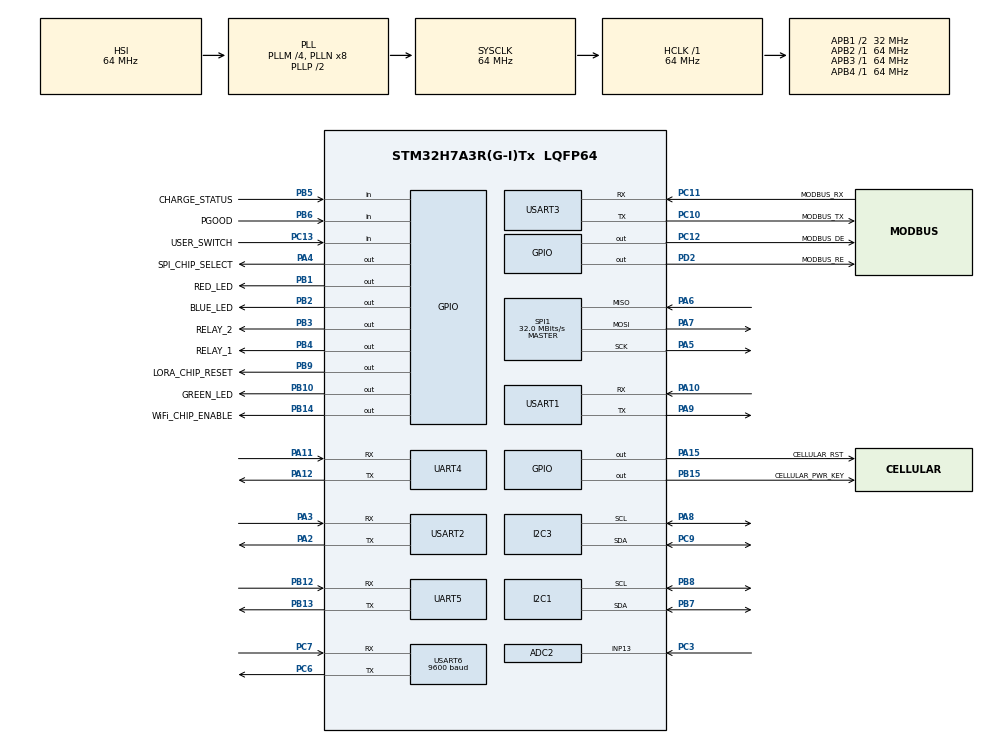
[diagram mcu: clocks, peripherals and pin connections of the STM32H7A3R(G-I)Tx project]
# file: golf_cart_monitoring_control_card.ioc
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ADC2.Channel-2\#ChannelRegularConversion=ADC_CHANNEL_13
ADC2.NbrOfConversionFlag=1
ADC2.OffsetNumber-2\#ChannelRegularConversion=ADC_OFFSET_NONE
ADC2.OffsetSignedSaturation-2\#ChannelRegularConversion=DISABLE
ADC2.Rank-2\#ChannelRegularConversion=1
ADC2.Resolution=ADC_RESOLUTION_12B
ADC2.SamplingTime-2\#ChannelRegularConversion=ADC_SAMPLETIME_810CYCLES_5
CORTEX_M7.default_mode_Activation=1
FREERTOS.BinarySemaphores01=myBinarySem01,Dynamic,NULL,Available
FREERTOS.Mutexes01=myMutex01,Dynamic,NULL,Available
FREERTOS.Tasks01=rtc_task,0,1024,start_rtc_task,Default,NULL,Dynamic,NULL,NULL;wifi_processing,0,1024,wifi_processing_task,Default,NULL,Dynamic,NULL,NULL;wifi_thread,0,1024,wifi_thread_task,Default,NULL,Dynamic,NULL,NULL;cellular_proces,0,1024,cellular_processing_task,Default,NULL,Dynamic,NULL,NULL;cellular_thread,0,1024,cellular_thread_task,Default,NULL,Dynamic,NULL,NULL;downlink_thread,0,1024,downlink_thread_task,Default,NULL,Dynamic,NULL,NULL;appilcation_thr,0,1024,appilcation_thread_task,Default,NULL,Dynamic,NULL,NULL;lorawan_thread,0,1024,lorawan_thread_task,Default,NULL,Dynamic,NULL,NULL;lorawan_process,0,1024,lorawan_processing_task,Default,NULL,Dynamic,NULL,NULL
FREERTOS.configTOTAL_HEAP_SIZE=262144
I2C1.Timing=0x00707CBB
I2C3.Timing=0x00707CBB
IWDG1.Prescaler=IWDG_PRESCALER_256
Mcu.Family=STM32H7
Mcu.Name=STM32H7A3R(G-I)Tx
Mcu.Package=LQFP64
NVIC.I2C1_ER_IRQn=true\:5\:0\:false\:false\:true\:true\:true\:true\:true
NVIC.I2C1_EV_IRQn=true\:5\:0\:false\:false\:true\:true\:true\:true\:true
NVIC.I2C3_ER_IRQn=true\:5\:0\:false\:false\:true\:true\:true\:true\:true
NVIC.I2C3_EV_IRQn=true\:5\:0\:false\:false\:true\:true\:true\:true\:true
NVIC.PriorityGroup=NVIC_PRIORITYGROUP_4
NVIC.SPI1_IRQn=true\:5\:0\:false\:false\:true\:true\:true\:true\:true
NVIC.TIM4_IRQn=true\:15\:0\:false\:false\:true\:false\:false\:true\:true
NVIC.TimeBase=TIM4_IRQn
NVIC.TimeBaseIP=TIM4
NVIC.UART4_IRQn=true\:5\:0\:false\:false\:true\:true\:true\:true\:true
NVIC.UART5_IRQn=true\:5\:0\:false\:false\:true\:true\:true\:true\:true
NVIC.USART1_IRQn=true\:5\:0\:false\:false\:true\:true\:true\:true\:true
NVIC.USART2_IRQn=true\:5\:0\:false\:false\:true\:true\:true\:true\:true
NVIC.USART3_IRQn=true\:5\:0\:false\:false\:true\:true\:true\:true\:true
NVIC.USART6_IRQn=true\:5\:0\:false\:false\:true\:true\:true\:true\:true
PA10.Mode=Asynchronous
PA10.Signal=USART1_RX
PA11.Mode=Asynchronous
PA11.Signal=UART4_RX
PA12.Mode=Asynchronous
PA12.Signal=UART4_TX
PA15.GPIO_Label=CELLULAR_RST
PA15.Signal=GPIO_Output
PA2.Mode=Asynchronous
PA2.Signal=USART2_TX
PA3.Mode=Asynchronous
PA3.Signal=USART2_RX
PA4.GPIO_Label=SPI_CHIP_SELECT
PA4.Signal=GPIO_Output
PA5.Mode=Full_Duplex_Master
PA5.Signal=SPI1_SCK
PA6.Mode=Full_Duplex_Master
PA6.Signal=SPI1_MISO
PA7.Mode=Full_Duplex_Master
PA7.Signal=SPI1_MOSI
PA8.Mode=I2C
PA8.Signal=I2C3_SCL
PA9.Mode=Asynchronous
PA9.Signal=USART1_TX
PB1.GPIO_Label=RED_LED
PB1.Signal=GPIO_Output
PB10.GPIO_Label=GREEN_LED
PB10.Signal=GPIO_Output
PB12.Mode=Asynchronous
PB12.Signal=UART5_RX
PB13.Mode=Asynchronous
PB13.Signal=UART5_TX
PB14.GPIO_Label=WiFi_CHIP_ENABLE
PB14.Signal=GPIO_Output
PB15.GPIO_Label=CELLULAR_PWR_KEY
PB15.Signal=GPIO_Output
PB2.GPIO_Label=BLUE_LED
PB2.Signal=GPIO_Output
PB3.GPIO_Label=RELAY_2
PB3.Signal=GPIO_Output
PB4.GPIO_Label=RELAY_1
PB4.Signal=GPIO_Output
PB5.GPIO_Label=CHARGE_STATUS
PB5.Signal=GPIO_Input
PB6.GPIO_Label=PGOOD
PB6.Signal=GPIO_Input
PB7.Mode=I2C
PB7.Signal=I2C1_SDA
PB8.Mode=I2C
PB8.Signal=I2C1_SCL
PB9.GPIO_Label=LORA_CHIP_RESET
PB9.Signal=GPIO_Output
PC10.GPIO_Label=MODBUS_TX
PC10.Mode=Asynchronous
PC10.Signal=USART3_TX
PC11.GPIO_Label=MODBUS_RX
PC11.Mode=Asynchronous
PC11.Signal=USART3_RX
PC12.GPIO_Label=MODBUS_DE
PC12.Signal=GPIO_Output
PC13.GPIO_Label=USER_SWITCH
PC13.Signal=GPIO_Input
PC14-OSC32_IN.Mode=LSE-External-Oscillator
PC14-OSC32_IN.Signal=RCC_OSC32_IN
PC15-OSC32_OUT.Mode=LSE-External-Oscillator
PC15-OSC32_OUT.Signal=RCC_OSC32_OUT
PC3.Signal=ADCx_INP13
PC6.Mode=Asynchronous
PC6.Signal=USART6_TX
PC7.Mode=Asynchronous
PC7.Signal=USART6_RX
PC9.Mode=I2C
PC9.Signal=I2C3_SDA
PD2.GPIO_Label=MODBUS_RE
PD2.Signal=GPIO_Output
ProjectManager.HeapSize=0x200
ProjectManager.StackSize=0x400
ProjectManager.TargetToolchain=STM32CubeIDE
RCC.ADCFreq_Value=16000000
RCC.APB1Freq_Value=32000000
RCC.APB2Freq_Value=64000000
RCC.APB3Freq_Value=64000000
RCC.APB4Freq_Value=64000000
RCC.CDPPRE1=RCC_APB1_DIV2
RCC.CortexFreq_Value=64000000
RCC.DIVM1=4
RCC.DIVM2=4
RCC.DIVN1=8
RCC.DIVN2=8
RCC.DIVP2=8
RCC.HCLKFreq_Value=64000000
RCC.PLL2FRACN=0
RCC.PLL3FRACN=0
RCC.PLLFRACN=0
RCC.RTCClockSelection=RCC_RTCCLKSOURCE_LSE
RCC.SYSCLKFreq_VALUE=64000000
RCC.SYSCLKSource=RCC_SYSCLKSOURCE_PLLCLK
RCC.USBFreq_Value=64000000
SH.ADCx_INP13.0=ADC2_INP13,IN13-Single-Ended
SPI1.CalculateBaudRate=32.0 MBits/s
SPI1.DataSize=SPI_DATASIZE_8BIT
SPI1.Direction=SPI_DIRECTION_2LINES
SPI1.Mode=SPI_MODE_MASTER
SPI1.VirtualType=VM_MASTER
TIM17.Prescaler=72-1
USART1.VirtualMode-Asynchronous=VM_ASYNC
USART2.VirtualMode-Asynchronous=VM_ASYNC
USART3.VirtualMode-Asynchronous=VM_ASYNC
USART6.BaudRate=9600
USART6.VirtualMode=VM_ASYNC
VP_FREERTOS_VS_CMSIS_V1.Mode=CMSIS_V1
VP_IWDG1_VS_IWDG.Mode=IWDG_Activate
VP_MEMORYMAP_VS_MEMORYMAP.Mode=CurAppReg
VP_RTC_VS_RTC_Activate.Mode=RTC_Enabled
VP_SYS_VS_tim4.Mode=TIM4
VP_TIM17_VS_ClockSourceINT.Mode=Enable_Timer
board=custom

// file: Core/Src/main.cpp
/* USER CODE BEGIN Header */
/**
  ******************************************************************************
  * @file           : main.c
  * @brief          : Main program body
  ******************************************************************************
  * @attention
  *
  * Copyright (c) 2025 STMicroelectronics.
  * All rights reserved.
  *
  * This software is licensed under terms that can be found in the LICENSE file
  * in the root directory of this software component.
  * If no LICENSE file comes with this software, it is provided AS-IS.
  *
  ******************************************************************************
  */
/* USER CODE END Header */
#include "main.h"
#include "cmsis_os.h"

/* USER CODE BEGIN Includes */

#include "usart_class.h"
#include "gpio.h"
#include "realtimeclock.h"
#include "norflash.h"
#include "external_eeprom.h"
#include "device_info.h"
#include "wifi.h"
#include "semaphore_t.h"
#include "uplink_management.h"
#include "norflash.h"
#include "peripherals_t.h"
#include "cellular.h"
#include "adc.h"
#include "radar_sensor.h"
#include "lorawan_stm32wl.h"
#include "sht40.h"

/* USER CODE END Includes */

ADC_HandleTypeDef hadc2;

I2C_HandleTypeDef hi2c1;
I2C_HandleTypeDef hi2c3;

IWDG_HandleTypeDef hiwdg1;

RTC_HandleTypeDef hrtc;

SPI_HandleTypeDef hspi1;

UART_HandleTypeDef huart4;
UART_HandleTypeDef huart5;
UART_HandleTypeDef huart1;
UART_HandleTypeDef huart2;
UART_HandleTypeDef huart3;
UART_HandleTypeDef huart6;

TIM_HandleTypeDef htim17;

osThreadId rtc_taskHandle;
osThreadId wifi_processingHandle;
osThreadId wifi_threadHandle;
osThreadId cellular_procesHandle;
osThreadId cellular_threadHandle;
osThreadId downlink_threadHandle;
osThreadId appilcation_thrHandle;
osThreadId lorawan_threadHandle;
osThreadId lorawan_processHandle;
osMutexId myMutex01Handle;
osSemaphoreId myBinarySem01Handle;
/* USER CODE BEGIN PV */

uint8_t debug_byte = 0;
reset_cause_t device_reset_reason;

/* USER CODE END PV */

void SystemClock_Config(void);
static void MPU_Config(void);
static void MX_GPIO_Init(void);
static void MX_I2C1_Init(void);
static void MX_I2C3_Init(void);
static void MX_SPI1_Init(void);
static void MX_UART4_Init(void);
static void MX_UART5_Init(void);
static void MX_USART1_UART_Init(void);
static void MX_USART2_UART_Init(void);
static void MX_USART3_UART_Init(void);
static void MX_USART6_UART_Init(void);
static void MX_RTC_Init(void);
void MX_TIM17_Init(void);
static void MX_ADC2_Init(void);
static void MX_IWDG1_Init(void);
void start_rtc_task(void const * argument);
void wifi_processing_task(void const * argument);
void wifi_thread_task(void const * argument);
void cellular_processing_task(void const * argument);
void cellular_thread_task(void const * argument);
void downlink_thread_task(void const * argument);
void appilcation_thread_task(void const * argument);
void lorawan_thread_task(void const * argument);
void lorawan_processing_task(void const * argument);
void read_and_print_sht40(void);

/* USER CODE BEGIN 0 */

uint32_t application_thread_loop_start_time = 0;
uint32_t application_thread_loop_end_time = 0;
uint32_t time_to_sleep_in_sec = 0;

uint8_t power_up = 0;

int16_t temperature = 45;
uint8_t humidity= 66;

extern I2C_HandleTypeDef hi2c1;
extern usart debug;

i2c i2c1_bus(&hi2c1);

SHT40 sht40(&i2c1_bus, 0x44 << 1);   // 8-bit address

//void read_and_print_sht40(void)
//   {
//       int16_t temp_x10 = 0;
//       uint8_t hum = 0;
//
//       SHT40::Status status = sht40.read(temp_x10, hum);
//
//       if (status == SHT40::Status::OK)
//       {
//           debug.printf(
//               "SHT40 | Temp: %d.%d C | Humidity: %d %%\r\n",
//               temp_x10 / 10,
//               abs(temp_x10 % 10),
//               hum
//           );
//       }
//       else if (status == SHT40::Status::CRC_ERROR)
//       {
//           debug.printf("SHT40 ERROR: CRC failure\r\n");
//       }
//       else
//       {
//           debug.printf("SHT40 ERROR: I2C failure\r\n");
//       }
//   }

/* USER CODE END 0 */

int main(void)
{

  /* MPU Configuration--------------------------------------------------------*/
  MPU_Config();

  /* MCU Configuration--------------------------------------------------------*/

  /* Reset of all peripherals, Initializes the Flash interface and the Systick. */
  HAL_Init();

  /* Configure the system clock */
  SystemClock_Config();

  /* Initialize all configured peripherals */
  MX_GPIO_Init();
  MX_I2C1_Init();
  MX_I2C3_Init();
  MX_SPI1_Init();
  MX_UART4_Init();
  MX_UART5_Init();
  MX_USART1_UART_Init();
  MX_USART2_UART_Init();
  MX_USART3_UART_Init();
  MX_USART6_UART_Init();
  MX_RTC_Init();
  MX_TIM17_Init();
  MX_ADC2_Init();
  MX_IWDG1_Init();
  /* USER CODE BEGIN 2 */

  //debug.printf("\r\nSHT40 Sensor Test Started\r\n");

  /* USER CODE END 2 */

  /* Create the mutex(es) */
  /* definition and creation of myMutex01 */
  osMutexDef(myMutex01);
  myMutex01Handle = osMutexCreate(osMutex(myMutex01));

  /* Create the semaphores(s) */
  /* definition and creation of myBinarySem01 */
  osSemaphoreDef(myBinarySem01);
  myBinarySem01Handle = osSemaphoreCreate(osSemaphore(myBinarySem01), 1);

  /* Create the thread(s) */
  /* definition and creation of rtc_task */
  osThreadDef(rtc_task, start_rtc_task, osPriorityNormal, 0, 1024);
  rtc_taskHandle = osThreadCreate(osThread(rtc_task), NULL);

  /* definition and creation of wifi_processing */
  osThreadDef(wifi_processing, wifi_processing_task, osPriorityNormal, 0, 1024);
  wifi_processingHandle = osThreadCreate(osThread(wifi_processing), NULL);

  /* definition and creation of wifi_thread */
  osThreadDef(wifi_thread, wifi_thread_task, osPriorityNormal, 0, 1024);
  wifi_threadHandle = osThreadCreate(osThread(wifi_thread), NULL);

  /* definition and creation of cellular_proces */
  osThreadDef(cellular_proces, cellular_processing_task, osPriorityNormal, 0, 1024);
  cellular_procesHandle = osThreadCreate(osThread(cellular_proces), NULL);

  /* definition and creation of cellular_thread */
  osThreadDef(cellular_thread, cellular_thread_task, osPriorityNormal, 0, 1024);
  cellular_threadHandle = osThreadCreate(osThread(cellular_thread), NULL);
//
  /* definition and creation of downlink_thread */
  osThreadDef(downlink_thread, downlink_thread_task, osPriorityNormal, 0, 1024);
  downlink_threadHandle = osThreadCreate(osThread(downlink_thread), NULL);
//
//  /* definition and creation of appilcation_thr */
  osThreadDef(appilcation_thr, appilcation_thread_task, osPriorityNormal, 0, 1024);
  appilcation_thrHandle = osThreadCreate(osThread(appilcation_thr), NULL);
//
  /* definition and creation of lorawan_thread */
  osThreadDef(lorawan_thread, lorawan_thread_task, osPriorityNormal, 0, 1024);
  lorawan_threadHandle = osThreadCreate(osThread(lorawan_thread), NULL);

  /* definition and creation of lorawan_process */
  osThreadDef(lorawan_process, lorawan_processing_task, osPriorityNormal, 0, 1024);
  lorawan_processHandle = osThreadCreate(osThread(lorawan_process), NULL);

  /* Start scheduler */
  osKernelStart();

  /* We should never get here as control is now taken by the scheduler */

  /* Infinite loop */
  while (1)
  {

  }
}

void SystemClock_Config(void)
{
  RCC_OscInitTypeDef RCC_OscInitStruct = {0};
  RCC_ClkInitTypeDef RCC_ClkInitStruct = {0};

  /*AXI clock gating */
  RCC->CKGAENR = 0xFFFFFFFF;

  /** Supply configuration update enable
  */
  HAL_PWREx_ConfigSupply(PWR_LDO_SUPPLY);

  /** Configure the main internal regulator output voltage
  */
  __HAL_PWR_VOLTAGESCALING_CONFIG(PWR_REGULATOR_VOLTAGE_SCALE3);

  while(!__HAL_PWR_GET_FLAG(PWR_FLAG_VOSRDY)) {}

  /** Configure LSE Drive Capability
  */
  HAL_PWR_EnableBkUpAccess();
  __HAL_RCC_LSEDRIVE_CONFIG(RCC_LSEDRIVE_LOW);

  /** Initializes the RCC Oscillators according to the specified parameters
  * in the RCC_OscInitTypeDef structure.
  */
  RCC_OscInitStruct.OscillatorType = RCC_OSCILLATORTYPE_HSI|RCC_OSCILLATORTYPE_LSE;
  RCC_OscInitStruct.LSEState = RCC_LSE_ON;
  RCC_OscInitStruct.HSIState = RCC_HSI_DIV1;
  RCC_OscInitStruct.HSICalibrationValue = 64;
  RCC_OscInitStruct.PLL.PLLState = RCC_PLL_ON;
  RCC_OscInitStruct.PLL.PLLSource = RCC_PLLSOURCE_HSI;
  RCC_OscInitStruct.PLL.PLLM = 4;
  RCC_OscInitStruct.PLL.PLLN = 8;
  RCC_OscInitStruct.PLL.PLLP = 2;
  RCC_OscInitStruct.PLL.PLLQ = 2;
  RCC_OscInitStruct.PLL.PLLR = 2;
  RCC_OscInitStruct.PLL.PLLRGE = RCC_PLL1VCIRANGE_3;
  RCC_OscInitStruct.PLL.PLLVCOSEL = RCC_PLL1VCOWIDE;
  RCC_OscInitStruct.PLL.PLLFRACN = 0;
  if (HAL_RCC_OscConfig(&RCC_OscInitStruct) != HAL_OK)
  {
    Error_Handler();
  }

  /** Initializes the CPU, AHB and APB buses clocks
  */
  RCC_ClkInitStruct.ClockType = RCC_CLOCKTYPE_HCLK|RCC_CLOCKTYPE_SYSCLK
                              |RCC_CLOCKTYPE_PCLK1|RCC_CLOCKTYPE_PCLK2
                              |RCC_CLOCKTYPE_D3PCLK1|RCC_CLOCKTYPE_D1PCLK1;
  RCC_ClkInitStruct.SYSCLKSource = RCC_SYSCLKSOURCE_PLLCLK;
  RCC_ClkInitStruct.SYSCLKDivider = RCC_SYSCLK_DIV1;
  RCC_ClkInitStruct.AHBCLKDivider = RCC_HCLK_DIV1;
  RCC_ClkInitStruct.APB3CLKDivider = RCC_APB3_DIV1;
  RCC_ClkInitStruct.APB1CLKDivider = RCC_APB1_DIV2;
  RCC_ClkInitStruct.APB2CLKDivider = RCC_APB2_DIV1;
  RCC_ClkInitStruct.APB4CLKDivider = RCC_APB4_DIV1;

  if (HAL_RCC_ClockConfig(&RCC_ClkInitStruct, FLASH_LATENCY_2) != HAL_OK)
  {
    Error_Handler();
  }
}

static void MX_ADC2_Init(void)
{

  ADC_ChannelConfTypeDef sConfig = {0};

  /** Common config
  */
  hadc2.Instance = ADC2;
  hadc2.Init.ClockPrescaler = ADC_CLOCK_ASYNC_DIV1;
  hadc2.Init.Resolution = ADC_RESOLUTION_12B;
  hadc2.Init.ScanConvMode = ADC_SCAN_DISABLE;
  hadc2.Init.EOCSelection = ADC_EOC_SINGLE_CONV;
  hadc2.Init.LowPowerAutoWait = DISABLE;
  hadc2.Init.ContinuousConvMode = DISABLE;
  hadc2.Init.NbrOfConversion = 1;
  hadc2.Init.DiscontinuousConvMode = DISABLE;
  hadc2.Init.ExternalTrigConv = ADC_SOFTWARE_START;
  hadc2.Init.ExternalTrigConvEdge = ADC_EXTERNALTRIGCONVEDGE_NONE;
  hadc2.Init.ConversionDataManagement = ADC_CONVERSIONDATA_DR;
  hadc2.Init.Overrun = ADC_OVR_DATA_PRESERVED;
  hadc2.Init.LeftBitShift = ADC_LEFTBITSHIFT_NONE;
  hadc2.Init.OversamplingMode = DISABLE;
  if (HAL_ADC_Init(&hadc2) != HAL_OK)
  {
    Error_Handler();
  }

  /** Configure Regular Channel
  */
  sConfig.Channel = ADC_CHANNEL_13;
  sConfig.Rank = ADC_REGULAR_RANK_1;
  sConfig.SamplingTime = ADC_SAMPLETIME_810CYCLES_5;
  sConfig.SingleDiff = ADC_SINGLE_ENDED;
  sConfig.OffsetNumber = ADC_OFFSET_NONE;
  sConfig.Offset = 0;
  sConfig.OffsetSignedSaturation = DISABLE;
  if (HAL_ADC_ConfigChannel(&hadc2, &sConfig) != HAL_OK)
  {
    Error_Handler();
  }

}

static void MX_I2C1_Init(void)
{

  hi2c1.Instance = I2C1;
  hi2c1.Init.Timing = 0x00707CBB;
  hi2c1.Init.OwnAddress1 = 0;
  hi2c1.Init.AddressingMode = I2C_ADDRESSINGMODE_7BIT;
  hi2c1.Init.DualAddressMode = I2C_DUALADDRESS_DISABLE;
  hi2c1.Init.OwnAddress2 = 0;
  hi2c1.Init.OwnAddress2Masks = I2C_OA2_NOMASK;
  hi2c1.Init.GeneralCallMode = I2C_GENERALCALL_DISABLE;
  hi2c1.Init.NoStretchMode = I2C_NOSTRETCH_DISABLE;
  if (HAL_I2C_Init(&hi2c1) != HAL_OK)
  {
    Error_Handler();
  }

  /** Configure Analogue filter
  */
  if (HAL_I2CEx_ConfigAnalogFilter(&hi2c1, I2C_ANALOGFILTER_ENABLE) != HAL_OK)
  {
    Error_Handler();
  }

  /** Configure Digital filter
  */
  if (HAL_I2CEx_ConfigDigitalFilter(&hi2c1, 0) != HAL_OK)
  {
    Error_Handler();
  }

}

static void MX_I2C3_Init(void)
{

  hi2c3.Instance = I2C3;
  hi2c3.Init.Timing = 0x00707CBB;
  hi2c3.Init.OwnAddress1 = 0;
  hi2c3.Init.AddressingMode = I2C_ADDRESSINGMODE_7BIT;
  hi2c3.Init.DualAddressMode = I2C_DUALADDRESS_DISABLE;
  hi2c3.Init.OwnAddress2 = 0;
  hi2c3.Init.OwnAddress2Masks = I2C_OA2_NOMASK;
  hi2c3.Init.GeneralCallMode = I2C_GENERALCALL_DISABLE;
  hi2c3.Init.NoStretchMode = I2C_NOSTRETCH_DISABLE;
  if (HAL_I2C_Init(&hi2c3) != HAL_OK)
  {
    Error_Handler();
  }

  /** Configure Analogue filter
  */
  if (HAL_I2CEx_ConfigAnalogFilter(&hi2c3, I2C_ANALOGFILTER_ENABLE) != HAL_OK)
  {
    Error_Handler();
  }

  /** Configure Digital filter
  */
  if (HAL_I2CEx_ConfigDigitalFilter(&hi2c3, 0) != HAL_OK)
  {
    Error_Handler();
  }

}

static void MX_IWDG1_Init(void)
{

  hiwdg1.Instance = IWDG1;
  hiwdg1.Init.Prescaler = IWDG_PRESCALER_256;
  hiwdg1.Init.Window = 4095;
  hiwdg1.Init.Reload = 4095;
  if (HAL_IWDG_Init(&hiwdg1) != HAL_OK)
  {
    Error_Handler();
  }

}

static void MX_RTC_Init(void)
{

  /** Initialize RTC Only
  */
  hrtc.Instance = RTC;
  hrtc.Init.HourFormat = RTC_HOURFORMAT_24;
  hrtc.Init.AsynchPrediv = 127;
  hrtc.Init.SynchPrediv = 255;
  hrtc.Init.OutPut = RTC_OUTPUT_DISABLE;
  hrtc.Init.OutPutPolarity = RTC_OUTPUT_POLARITY_HIGH;
  hrtc.Init.OutPutType = RTC_OUTPUT_TYPE_OPENDRAIN;
  hrtc.Init.OutPutRemap = RTC_OUTPUT_REMAP_NONE;
  if (HAL_RTC_Init(&hrtc) != HAL_OK)
  {
    Error_Handler();
  }

}

static void MX_SPI1_Init(void)
{

  /* SPI1 parameter configuration*/
  hspi1.Instance = SPI1;
  hspi1.Init.Mode = SPI_MODE_MASTER;
  hspi1.Init.Direction = SPI_DIRECTION_2LINES;
  hspi1.Init.DataSize = SPI_DATASIZE_8BIT;
  hspi1.Init.CLKPolarity = SPI_POLARITY_LOW;
  hspi1.Init.CLKPhase = SPI_PHASE_1EDGE;
  hspi1.Init.NSS = SPI_NSS_SOFT;
  hspi1.Init.BaudRatePrescaler = SPI_BAUDRATEPRESCALER_2;
  hspi1.Init.FirstBit = SPI_FIRSTBIT_MSB;
  hspi1.Init.TIMode = SPI_TIMODE_DISABLE;
  hspi1.Init.CRCCalculation = SPI_CRCCALCULATION_DISABLE;
  hspi1.Init.CRCPolynomial = 0x0;
  hspi1.Init.NSSPMode = SPI_NSS_PULSE_ENABLE;
  hspi1.Init.NSSPolarity = SPI_NSS_POLARITY_LOW;
  hspi1.Init.FifoThreshold = SPI_FIFO_THRESHOLD_01DATA;
  hspi1.Init.TxCRCInitializationPattern = SPI_CRC_INITIALIZATION_ALL_ZERO_PATTERN;
  hspi1.Init.RxCRCInitializationPattern = SPI_CRC_INITIALIZATION_ALL_ZERO_PATTERN;
  hspi1.Init.MasterSSIdleness = SPI_MASTER_SS_IDLENESS_00CYCLE;
  hspi1.Init.MasterInterDataIdleness = SPI_MASTER_INTERDATA_IDLENESS_00CYCLE;
  hspi1.Init.MasterReceiverAutoSusp = SPI_MASTER_RX_AUTOSUSP_DISABLE;
  hspi1.Init.MasterKeepIOState = SPI_MASTER_KEEP_IO_STATE_DISABLE;
  hspi1.Init.IOSwap = SPI_IO_SWAP_DISABLE;
  if (HAL_SPI_Init(&hspi1) != HAL_OK)
  {
    Error_Handler();
  }

}

void MX_TIM17_Init(void)
{

  htim17.Instance = TIM17;
  htim17.Init.Prescaler = 72-1;
  htim17.Init.CounterMode = TIM_COUNTERMODE_UP;
  htim17.Init.Period = 65535;
  htim17.Init.ClockDivision = TIM_CLOCKDIVISION_DIV1;
  htim17.Init.RepetitionCounter = 0;
  htim17.Init.AutoReloadPreload = TIM_AUTORELOAD_PRELOAD_DISABLE;
  if (HAL_TIM_Base_Init(&htim17) != HAL_OK)
  {
    Error_Handler();
  }

}

static void MX_UART4_Init(void)
{

  huart4.Instance = UART4;
  huart4.Init.BaudRate = 115200;
  huart4.Init.WordLength = UART_WORDLENGTH_8B;
  huart4.Init.StopBits = UART_STOPBITS_1;
  huart4.Init.Parity = UART_PARITY_NONE;
  huart4.Init.Mode = UART_MODE_TX_RX;
  huart4.Init.HwFlowCtl = UART_HWCONTROL_NONE;
  huart4.Init.OverSampling = UART_OVERSAMPLING_16;
  huart4.Init.OneBitSampling = UART_ONE_BIT_SAMPLE_DISABLE;
  huart4.Init.ClockPrescaler = UART_PRESCALER_DIV1;
  huart4.AdvancedInit.AdvFeatureInit = UART_ADVFEATURE_NO_INIT;
  if (HAL_UART_Init(&huart4) != HAL_OK)
  {
    Error_Handler();
  }
  if (HAL_UARTEx_SetTxFifoThreshold(&huart4, UART_TXFIFO_THRESHOLD_1_8) != HAL_OK)
  {
    Error_Handler();
  }
  if (HAL_UARTEx_SetRxFifoThreshold(&huart4, UART_RXFIFO_THRESHOLD_1_8) != HAL_OK)
  {
    Error_Handler();
  }
  if (HAL_UARTEx_DisableFifoMode(&huart4) != HAL_OK)
  {
    Error_Handler();
  }

}

static void MX_UART5_Init(void)
{

  huart5.Instance = UART5;
  huart5.Init.BaudRate = 115200;
  huart5.Init.WordLength = UART_WORDLENGTH_8B;
  huart5.Init.StopBits = UART_STOPBITS_1;
  huart5.Init.Parity = UART_PARITY_NONE;
  huart5.Init.Mode = UART_MODE_TX_RX;
  huart5.Init.HwFlowCtl = UART_HWCONTROL_NONE;
  huart5.Init.OverSampling = UART_OVERSAMPLING_16;
  huart5.Init.OneBitSampling = UART_ONE_BIT_SAMPLE_DISABLE;
  huart5.Init.ClockPrescaler = UART_PRESCALER_DIV1;
  huart5.AdvancedInit.AdvFeatureInit = UART_ADVFEATURE_NO_INIT;
  if (HAL_UART_Init(&huart5) != HAL_OK)
  {
    Error_Handler();
  }
  if (HAL_UARTEx_SetTxFifoThreshold(&huart5, UART_TXFIFO_THRESHOLD_1_8) != HAL_OK)
  {
    Error_Handler();
  }
  if (HAL_UARTEx_SetRxFifoThreshold(&huart5, UART_RXFIFO_THRESHOLD_1_8) != HAL_OK)
  {
    Error_Handler();
  }
  if (HAL_UARTEx_DisableFifoMode(&huart5) != HAL_OK)
  {
    Error_Handler();
  }

}

static void MX_USART1_UART_Init(void)
{

  huart1.Instance = USART1;
  huart1.Init.BaudRate = 115200;
  huart1.Init.WordLength = UART_WORDLENGTH_8B;
  huart1.Init.StopBits = UART_STOPBITS_1;
  huart1.Init.Parity = UART_PARITY_NONE;
  huart1.Init.Mode = UART_MODE_TX_RX;
  huart1.Init.HwFlowCtl = UART_HWCONTROL_NONE;
  huart1.Init.OverSampling = UART_OVERSAMPLING_16;
  huart1.Init.OneBitSampling = UART_ONE_BIT_SAMPLE_DISABLE;
  huart1.Init.ClockPrescaler = UART_PRESCALER_DIV1;
  huart1.AdvancedInit.AdvFeatureInit = UART_ADVFEATURE_NO_INIT;
  if (HAL_UART_Init(&huart1) != HAL_OK)
  {
    Error_Handler();
  }
  if (HAL_UARTEx_SetTxFifoThreshold(&huart1, UART_TXFIFO_THRESHOLD_1_8) != HAL_OK)
  {
    Error_Handler();
  }
  if (HAL_UARTEx_SetRxFifoThreshold(&huart1, UART_RXFIFO_THRESHOLD_1_8) != HAL_OK)
  {
    Error_Handler();
  }
  if (HAL_UARTEx_DisableFifoMode(&huart1) != HAL_OK)
  {
    Error_Handler();
  }

}

static void MX_USART2_UART_Init(void)
{

  huart2.Instance = USART2;
  huart2.Init.BaudRate = 115200;
  huart2.Init.WordLength = UART_WORDLENGTH_8B;
  huart2.Init.StopBits = UART_STOPBITS_1;
  huart2.Init.Parity = UART_PARITY_NONE;
  huart2.Init.Mode = UART_MODE_TX_RX;
  huart2.Init.HwFlowCtl = UART_HWCONTROL_NONE;
  huart2.Init.OverSampling = UART_OVERSAMPLING_16;
  huart2.Init.OneBitSampling = UART_ONE_BIT_SAMPLE_DISABLE;
  huart2.Init.ClockPrescaler = UART_PRESCALER_DIV1;
  huart2.AdvancedInit.AdvFeatureInit = UART_ADVFEATURE_NO_INIT;
  if (HAL_UART_Init(&huart2) != HAL_OK)
  {
    Error_Handler();
  }
  if (HAL_UARTEx_SetTxFifoThreshold(&huart2, UART_TXFIFO_THRESHOLD_1_8) != HAL_OK)
  {
    Error_Handler();
  }
  if (HAL_UARTEx_SetRxFifoThreshold(&huart2, UART_RXFIFO_THRESHOLD_1_8) != HAL_OK)
  {
    Error_Handler();
  }
  if (HAL_UARTEx_DisableFifoMode(&huart2) != HAL_OK)
  {
    Error_Handler();
  }

}

static void MX_USART3_UART_Init(void)
{

  huart3.Instance = USART3;
  huart3.Init.BaudRate = 115200;
  huart3.Init.WordLength = UART_WORDLENGTH_8B;
  huart3.Init.StopBits = UART_STOPBITS_1;
  huart3.Init.Parity = UART_PARITY_NONE;
  huart3.Init.Mode = UART_MODE_TX_RX;
  huart3.Init.HwFlowCtl = UART_HWCONTROL_NONE;
  huart3.Init.OverSampling = UART_OVERSAMPLING_16;
  huart3.Init.OneBitSampling = UART_ONE_BIT_SAMPLE_DISABLE;
  huart3.Init.ClockPrescaler = UART_PRESCALER_DIV1;
  huart3.AdvancedInit.AdvFeatureInit = UART_ADVFEATURE_NO_INIT;
  if (HAL_UART_Init(&huart3) != HAL_OK)
  {
    Error_Handler();
  }
  if (HAL_UARTEx_SetTxFifoThreshold(&huart3, UART_TXFIFO_THRESHOLD_1_8) != HAL_OK)
  {
    Error_Handler();
  }
  if (HAL_UARTEx_SetRxFifoThreshold(&huart3, UART_RXFIFO_THRESHOLD_1_8) != HAL_OK)
  {
    Error_Handler();
  }
  if (HAL_UARTEx_DisableFifoMode(&huart3) != HAL_OK)
  {
    Error_Handler();
  }

}

static void MX_USART6_UART_Init(void)
{

  huart6.Instance = USART6;
  huart6.Init.BaudRate = 9600;
  huart6.Init.WordLength = UART_WORDLENGTH_8B;
  huart6.Init.StopBits = UART_STOPBITS_1;
  huart6.Init.Parity = UART_PARITY_NONE;
  huart6.Init.Mode = UART_MODE_TX_RX;
  huart6.Init.HwFlowCtl = UART_HWCONTROL_NONE;
  huart6.Init.OverSampling = UART_OVERSAMPLING_16;
  huart6.Init.OneBitSampling = UART_ONE_BIT_SAMPLE_DISABLE;
  huart6.Init.ClockPrescaler = UART_PRESCALER_DIV1;
  huart6.AdvancedInit.AdvFeatureInit = UART_ADVFEATURE_NO_INIT;
  if (HAL_UART_Init(&huart6) != HAL_OK)
  {
    Error_Handler();
  }
  if (HAL_UARTEx_SetTxFifoThreshold(&huart6, UART_TXFIFO_THRESHOLD_1_8) != HAL_OK)
  {
    Error_Handler();
  }
  if (HAL_UARTEx_SetRxFifoThreshold(&huart6, UART_RXFIFO_THRESHOLD_1_8) != HAL_OK)
  {
    Error_Handler();
  }
  if (HAL_UARTEx_DisableFifoMode(&huart6) != HAL_OK)
  {
    Error_Handler();
  }

}

static void MX_GPIO_Init(void)
{
  GPIO_InitTypeDef GPIO_InitStruct = {0};

  /* GPIO Ports Clock Enable */
  __HAL_RCC_GPIOC_CLK_ENABLE();
  __HAL_RCC_GPIOA_CLK_ENABLE();
  __HAL_RCC_GPIOB_CLK_ENABLE();
  __HAL_RCC_GPIOD_CLK_ENABLE();

  /*Configure GPIO pin Output Level */
  HAL_GPIO_WritePin(GPIOA, SPI_CHIP_SELECT_Pin|CELLULAR_RST_Pin, GPIO_PIN_RESET);

  /*Configure GPIO pin Output Level */
//  HAL_GPIO_WritePin(GPIOB, RED_LED_Pin|BLUE_LED_Pin|GREEN_LED_Pin|WiFi_CHIP_ENABLE_Pin
//                          |RELAY_2_Pin|RELAY_1_Pin|LORA_CHIP_RESET_Pin, GPIO_PIN_RESET);
//  HAL_GPIO_WritePin(GPIOB, RED_LED_Pin|BLUE_LED_Pin|GREEN_LED_Pin|WiFi_CHIP_ENABLE_Pin|
//		  CELLULAR_PWR_KEY_Pin|RELAY_2_Pin|RELAY_1_Pin|LORA_CHIP_RESET_Pin, GPIO_PIN_SET);

  HAL_GPIO_WritePin(GPIOB, RED_LED_Pin|BLUE_LED_Pin|GREEN_LED_Pin, GPIO_PIN_RESET);

  HAL_GPIO_WritePin(GPIOB, WiFi_CHIP_ENABLE_Pin|CELLULAR_PWR_KEY_Pin|RELAY_2_Pin|RELAY_1_Pin|LORA_CHIP_RESET_Pin, GPIO_PIN_SET);

  /*Configure GPIO pin Output Level */
//  HAL_GPIO_WritePin(MODBUS_DE_GPIO_Port, MODBUS_DE_Pin, GPIO_PIN_RESET);
  HAL_GPIO_WritePin(MODBUS_DE_GPIO_Port, MODBUS_DE_Pin, GPIO_PIN_SET);

  /*Configure GPIO pin Output Level */
//  HAL_GPIO_WritePin(MODBUS_RE_GPIO_Port, MODBUS_RE_Pin, GPIO_PIN_RESET);
  HAL_GPIO_WritePin(MODBUS_RE_GPIO_Port, MODBUS_RE_Pin, GPIO_PIN_SET);

  /*Configure GPIO pins : USER_SWITCH_Pin BATTERY_LEVEL_Pin */
  GPIO_InitStruct.Pin = USER_SWITCH_Pin;
  GPIO_InitStruct.Mode = GPIO_MODE_INPUT;
  GPIO_InitStruct.Pull = GPIO_NOPULL;
  HAL_GPIO_Init(GPIOC, &GPIO_InitStruct);

  /*Configure GPIO pin : SPI_CHHIP_SELECT_Pin */
  GPIO_InitStruct.Pin = SPI_CHIP_SELECT_Pin|CELLULAR_RST_Pin;
  GPIO_InitStruct.Mode = GPIO_MODE_OUTPUT_PP;
  GPIO_InitStruct.Pull = GPIO_NOPULL;
  GPIO_InitStruct.Speed = GPIO_SPEED_FREQ_LOW;
  HAL_GPIO_Init(GPIOA, &GPIO_InitStruct);

  /*Configure GPIO pins : RED_LED_Pin BLUE_LED_Pin GREEN_LED_Pin WiFi_CHIP_ENABLE_Pin
                           RELAY_2_Pin RELAY_1_Pin LORA_CHIP_RESET_Pin */
  GPIO_InitStruct.Pin = RED_LED_Pin|BLUE_LED_Pin|GREEN_LED_Pin|WiFi_CHIP_ENABLE_Pin|
		  CELLULAR_PWR_KEY_Pin|RELAY_2_Pin|RELAY_1_Pin|LORA_CHIP_RESET_Pin;
  GPIO_InitStruct.Mode = GPIO_MODE_OUTPUT_PP;
  GPIO_InitStruct.Pull = GPIO_NOPULL;
  GPIO_InitStruct.Speed = GPIO_SPEED_FREQ_LOW;
  HAL_GPIO_Init(GPIOB, &GPIO_InitStruct);

  /*Configure GPIO pin : MODBUS_DE_Pin */
  GPIO_InitStruct.Pin = MODBUS_DE_Pin;
  GPIO_InitStruct.Mode = GPIO_MODE_OUTPUT_PP;
  GPIO_InitStruct.Pull = GPIO_NOPULL;
  GPIO_InitStruct.Speed = GPIO_SPEED_FREQ_LOW;
  HAL_GPIO_Init(MODBUS_DE_GPIO_Port, &GPIO_InitStruct);

  /*Configure GPIO pin : MODBUS_RE_Pin */
  GPIO_InitStruct.Pin = MODBUS_RE_Pin;
  GPIO_InitStruct.Mode = GPIO_MODE_OUTPUT_PP;
  GPIO_InitStruct.Pull = GPIO_NOPULL;
  GPIO_InitStruct.Speed = GPIO_SPEED_FREQ_LOW;
  HAL_GPIO_Init(MODBUS_RE_GPIO_Port, &GPIO_InitStruct);

  /*Configure GPIO pins : CHARGE_STATUS_Pin PGOOD_Pin */
  GPIO_InitStruct.Pin = CHARGE_STATUS_Pin|PGOOD_Pin;
  GPIO_InitStruct.Mode = GPIO_MODE_INPUT;
  GPIO_InitStruct.Pull = GPIO_NOPULL;
  HAL_GPIO_Init(GPIOB, &GPIO_InitStruct);

/* USER CODE BEGIN MX_GPIO_Init_2 */
}

/* USER CODE BEGIN 4 */

const char * reset_cause_get_name(reset_cause_t reset_cause)
{
    const char * reset_cause_name = "TBD";

    switch (reset_cause)
    {
        case RESET_CAUSE_UNKNOWN:
            reset_cause_name = "UNKNOWN";
            debug_byte = 0;
            break;

        case RESET_CAUSE_LOW_POWER_RESET:
            reset_cause_name = "LOW_POWER_RESET";
            debug_byte = 1;
            break;

        case RESET_CAUSE_WINDOW_WATCHDOG_RESET:
            reset_cause_name = "WINDOW_WATCHDOG_RESET";
            debug_byte = 2;
            break;

        case RESET_CAUSE_INDEPENDENT_WATCHDOG_RESET:
            reset_cause_name = "INDEPENDENT_WATCHDOG_RESET";
            debug_byte = 3;
            break;

        case RESET_CAUSE_SOFTWARE_RESET:
            reset_cause_name = "SOFTWARE_RESET";
            debug_byte = 4;
            break;

        case RESET_CAUSE_POWER_ON_POWER_DOWN_RESET:
            reset_cause_name = "POWER-ON_RESET (POR) / POWER-DOWN_RESET (PDR)";
            debug_byte = 5;
            break;

        case RESET_CAUSE_EXTERNAL_RESET_PIN_RESET:
            reset_cause_name = "EXTERNAL_RESET_PIN_RESET";
            debug_byte = 6;
            break;

        case RESET_CAUSE_BROWNOUT_RESET:
            reset_cause_name = "BROWNOUT_RESET (BOR)";
            debug_byte = 7;
            break;
    }
    return reset_cause_name;
}

reset_cause_t reset_cause_get(void)
{
    reset_cause_t reset_cause;

    if (__HAL_RCC_GET_FLAG(RCC_FLAG_LPWR1RST))
    {
        reset_cause = RESET_CAUSE_LOW_POWER_RESET;
    }
    else if (__HAL_RCC_GET_FLAG(RCC_FLAG_WWDG1RST))
    {
        reset_cause = RESET_CAUSE_WINDOW_WATCHDOG_RESET;
    }
    else if (__HAL_RCC_GET_FLAG(RCC_FLAG_IWDG1RST))
    {
        reset_cause = RESET_CAUSE_INDEPENDENT_WATCHDOG_RESET;
    }
    else if (__HAL_RCC_GET_FLAG(RCC_FLAG_SFTRST))
    {
        reset_cause = RESET_CAUSE_SOFTWARE_RESET;
    }
    else if (__HAL_RCC_GET_FLAG(RCC_FLAG_PORRST))
    {
        reset_cause = RESET_CAUSE_POWER_ON_POWER_DOWN_RESET;
    }
    else if (__HAL_RCC_GET_FLAG(RCC_FLAG_PINRST))
    {
        reset_cause = RESET_CAUSE_EXTERNAL_RESET_PIN_RESET;
    }
    else if (__HAL_RCC_GET_FLAG(RCC_FLAG_BORRST))
    {
        reset_cause = RESET_CAUSE_BROWNOUT_RESET;
    }
    else
    {
        reset_cause = RESET_CAUSE_UNKNOWN;
    }

    __HAL_RCC_CLEAR_RESET_FLAGS();

    return reset_cause;
}

/* USER CODE END 4 */

void appilcation_thread_task(void const * argument)
{
  /* USER CODE BEGIN appilcation_thread_task */

	osDelay(1000);

	power_up = 1;

	peripherals.start_application = 0;
	peripherals.power_on_all_peripherals = 0;

	memset(&read_device_info, 0, sizeof(device_info_t));

	debug.printf("************************************* Smart Night Cell  *************************************\r\n");

	red_led.on();
	green_led.off();
	blue_led.off();

	device_reset_reason = reset_cause_get();
	debug.printf("Application Reset Reason is: %s\r\n", reset_cause_get_name(device_reset_reason));

	uint32_t my_nor_id = nor.read_id();
	debug.printf("my_nor_id : %X\r\n", my_nor_id);

	uint8_t new_eeprom_byte = eeprom.read_byte(START_ADDRESS_OF_NEW_EEPROM);

	if (NEW_EEPROM_CHECK_BYTE != new_eeprom_byte)
	{
		debug.printf("clearing EEPROM and loading default values\r\n");

		eeprom.erase_eeprom();
		eeprom.write_byte(NEW_EEPROM_CHECK_BYTE, START_ADDRESS_OF_NEW_EEPROM);

		eeprom.storage_counter_write(0, 0);
		eeprom.reader_counter_write(0, 0);
		eeprom.message_counter_write(0, 0);

		eeprom.write_int(0, START_ADDRESS_OF_WRITE_COUNTER_INDEX);
		eeprom.write_int(0, START_ADDRESS_OF_READ_COUNTER_INDEX);
		eeprom.write_int(0, START_ADDRESS_OF_MESSAGE_COUNTER_INDEX);

		if (1 == nor_mutex.lock(1000))
		{
			debug.printf("Bulk Erase Begin\r\n");
			nor.bulk_erase();
			debug.printf("Bulk Erase End\r\n");

			nor_mutex.unlock();
		}

		peripherals.load_default_values();
		write_device_info.load_default_values();
		wifi.load_default_wifi_credentials();

		next_message.load_default_values();

		lte.load_ssl_certificates();

		osDelay(250);
	}

	peripherals.read_from_eeprom();

	read_device_info.get();
	memcpy(&write_device_info, &read_device_info, sizeof(device_info_t));

	next_message.get();

//	if (wifi_enable == read_device_info.communication_mode_enabled)
//	{
//		osThreadSuspend(cellular_threadHandle);
//		osThreadSuspend(cellular_procesHandle);
//	}
//	else if (cellular_enable == read_device_info.communication_mode_enabled)
//	{
//		osThreadSuspend(wifi_processingHandle);
//		osThreadSuspend(wifi_threadHandle);
//	}

	nor.initialize_nor_flash();
	nor.unlock_all_sectors();
	nor.read_global_freeze_bit();
	nor.read_non_volatile_config_register();
	nor.read_volatile_config_register();
	nor.read_enhanced_volatile_config_register();
	nor.read_flag_register();

	peripherals.start_application = 0;
	peripherals.power_on_all_peripherals = 1;

	next_message.start_up = 1;

	debug.printf("read_device_info.device_start_time: %d\r\n", read_device_info.device_start_time);
	debug.printf("read_device_info.communication_mode_enabled: %d\r\n", read_device_info.communication_mode_enabled);
	debug.printf("read_device_info.device_downlink_topic: %s\r\n", read_device_info.device_downlink_topic);
	debug.printf("read_device_info.device_id: %s\r\n", read_device_info.device_id);
	debug.printf("read_device_info.device_name: %s\r\n", read_device_info.device_name);
	debug.printf("read_device_info.device_profile: %s\r\n", read_device_info.device_profile);
	debug.printf("read_device_info.device_uplink_telemetry_topic: %s\r\n", read_device_info.device_uplink_telemetry_topic);
	debug.printf("read_device_info.port_number: %d\r\n", read_device_info.port_number);
	debug.printf("read_device_info.data_sampling_frequency_in_sec: %d\r\n", read_device_info.data_sampling_frequency_in_sec);

	debug.printf("read_device_info.fw_ver: %s\r\n", read_device_info.fw_ver);
	debug.printf("read_device_info.new_fw_ver: %s\r\n", read_device_info.new_fw_ver);

	lorawan.deinitialise(); // TODO: AMP 25/01/2026

	if (wifi_enable == read_device_info.communication_mode_enabled)
	{
		wifi.get_wifi_credentials();
		osDelay(500);

//		debug.printf("read_device_info.access_token: %s\r\n", read_device_info.access_token);

		debug.printf("read_device_info.ap_password: %s\r\n", read_device_info.ap_password);
		debug.printf("read_device_info.ap_ssid: %s\r\n", read_device_info.ap_ssid);
		debug.printf("read_device_info.ap_static_ip: %s\r\n", read_device_info.ap_static_ip);

		debug.printf("wificredentials[0].ssid: %s\r\n", wificredentials[0].ssid);
		debug.printf("wificredentials[1].ssid: %s\r\n", wificredentials[1].ssid);
		debug.printf("wificredentials[2].ssid: %s\r\n", wificredentials[2].ssid);
		debug.printf("wificredentials[3].ssid: %s\r\n", wificredentials[3].ssid);
		debug.printf("wificredentials[4].ssid: %s\r\n", wificredentials[4].ssid);

		debug.printf("wificredentials[0].password: %s\r\n", wificredentials[0].password);
		debug.printf("wificredentials[1].password: %s\r\n", wificredentials[1].password);
		debug.printf("wificredentials[2].password: %s\r\n", wificredentials[2].password);
		debug.printf("wificredentials[3].password: %s\r\n", wificredentials[3].password);
		debug.printf("wificredentials[4].password: %s\r\n", wificredentials[4].password);

		wifi.restart_module();
	}

	else if (lorawan_enable == read_device_info.communication_mode_enabled)
	{
		debug.printf("read_device_info.lorawan_app_key: %s\r\n", read_device_info.lorawan_app_key);
		debug.printf("read_device_info.lorawan_nwk_key: %s\r\n", read_device_info.lorawan_nwk_key);
		debug.printf("read_device_info.lorawan_app_session_key: %s\r\n", read_device_info.lorawan_app_session_key);
		debug.printf("read_device_info.lorawan_nwk_session_key: %s\r\n", read_device_info.lorawan_nwk_session_key);
		debug.printf("read_device_info.lorawan_device_eui: %s\r\n", read_device_info.lorawan_device_eui);
		debug.printf("read_device_info.lorawan_join_eui: %s\r\n", read_device_info.lorawan_join_eui);
		debug.printf("read_device_info.lorawan_device_address: %s\r\n", read_device_info.lorawan_device_address);

		lorawan.initialise();
	}

	osDelay(250);
	radar.initialise();
//
//
//	/* Infinite loop */
//
	uint8_t sensor_data_fetch_result = 0;
	uint8_t sensor_data_attempt_counter = 0;

	for(;;)
	{
//		sensor_data_fetch_result = 0;
//		sensor_data_attempt_counter = 0;

		HAL_IWDG_Refresh(&hiwdg1);

	  //  read_and_print_sht40();   // ✅ THIS WILL PRINT
	    osDelay(1000);

		application_thread_loop_start_time = rtc.get_time_in_utc();

		if (1 == cellular_mutex.lock(1000)) //  TODO: check if acquiring this mutex is necessary
		{
			if ((1 == peripherals.power_on_all_peripherals) && (1 == peripherals.start_application))
			{
//				while ((1 != sensor_data_fetch_result) || (sensor_data_attempt_counter < 3))
//				{
//					green_led.toggle();
//
//					radar.fetch_parameters();
//
//					if (1 == radar_sensor_data_processing_sempahore.acquire(1000))
//					{
//						sensor_data_fetch_result = radar.process_received_data();
//					}
//
//					sensor_data_attempt_counter++;
//				}

				//water_tank_write_data.water_level_in_percentage = 9782; // TODO: remove this
				//sensor_data_fetch_result = 1; // TODO: remove this
				night_cell_write_data.temperature = 43;
				sensor_data_fetch_result = 1;
				debug.printf("night cell temperature: %d\r\n", night_cell_write_data.temperature);

				//debug.printf("water level percentage: %d\r\n", water_tank_write_data.water_level_in_percentage);

				if (1 == sensor_data_fetch_result)
				{
					night_cell_write_data.device_battery_percentage = present_battery_percentage;
					//water_tank_write_data.device_battery_percentage = present_battery_percentage;

					debug.printf("Here 1\r\n");

					night_cell_write_data.sample_epoch_time = rtc.get_time_in_utc();
					//water_tank_write_data.sample_epoch_time = rtc.get_time_in_utc();

					message_counter_index = eeprom.read_int(START_ADDRESS_OF_MESSAGE_COUNTER_INDEX);
					message_counter = eeprom.message_counter_read(message_counter_index);
					//water_tank_write_data.packet_number = message_counter;
					night_cell_write_data.packet_number = message_counter;

					debug.printf("Here 2\r\n");

					sprintf(night_cell_write_data.device_id, "%s", read_device_info.device_id);

					if (1 == power_status)
					{
						sprintf(night_cell_write_data.device_power_source, "%s", "mains");
					}
					else
					{
						sprintf(night_cell_write_data.device_power_source, "%s", "battery");
					}

					debug.printf("Here 3\r\n");

					memset(night_cell_write_data_buffer, 0, sizeof(night_cell_write_data_buffer));
					memcpy(night_cell_write_data_buffer, &night_cell_write_data, sizeof(night_cell_write_data));

					for(uint8_t i = 0 ; i < sizeof(night_cell_write_data_buffer) ; i++)
					{
						sprintf(&night_cell_write_data_buffer[i], "%d", i);
						debug.printf("%c", night_cell_write_data_buffer[i]);
					}

					debug.printf("\r\n");

					debug.printf("Before NOR Save\r\n");

					nor.save_data_packets(night_cell_write_data_buffer);

					debug.printf("After NOR Save\r\n");
					debug.printf("Here 5\r\n");

					message_counter++;

					eeprom.message_counter_write(message_counter, message_counter_index);

					debug.printf("Here 6\r\n");
				}
				else
				{
					debug.printf("unable to fetch water level from the radar sensor\r\n");
				}
			}

			cellular_mutex.unlock();
		}

		application_thread_loop_end_time = rtc.get_time_in_utc();

		if (1 == sensor_data_fetch_result)
		{
			time_to_sleep_in_sec = read_device_info.data_sampling_frequency_in_sec - ((application_thread_loop_end_time - application_thread_loop_start_time) % read_device_info.data_sampling_frequency_in_sec);
		}
		else
		{
//			time_to_sleep_in_sec = 30;
			time_to_sleep_in_sec = 10;
		}

//		debug.printf("time_to_sleep_in_sec: %d\r\n", time_to_sleep_in_sec);

		osDelay(time_to_sleep_in_sec * 1000);

	}

  /* USER CODE END appilcation_thread_task */
}

 /* MPU Configuration */

void MPU_Config(void)
{
  MPU_Region_InitTypeDef MPU_InitStruct = {0};

  /* Disables the MPU */
  HAL_MPU_Disable();

  /** Initializes and configures the Region and the memory to be protected
  */
  MPU_InitStruct.Enable = MPU_REGION_ENABLE;
  MPU_InitStruct.Number = MPU_REGION_NUMBER0;
  MPU_InitStruct.BaseAddress = 0x0;
  MPU_InitStruct.Size = MPU_REGION_SIZE_4GB;
  MPU_InitStruct.SubRegionDisable = 0x87;
  MPU_InitStruct.TypeExtField = MPU_TEX_LEVEL0;
  MPU_InitStruct.AccessPermission = MPU_REGION_NO_ACCESS;
  MPU_InitStruct.DisableExec = MPU_INSTRUCTION_ACCESS_DISABLE;
  MPU_InitStruct.IsShareable = MPU_ACCESS_SHAREABLE;
  MPU_InitStruct.IsCacheable = MPU_ACCESS_NOT_CACHEABLE;
  MPU_InitStruct.IsBufferable = MPU_ACCESS_NOT_BUFFERABLE;

  HAL_MPU_ConfigRegion(&MPU_InitStruct);
  /* Enables the MPU */
  HAL_MPU_Enable(MPU_PRIVILEGED_DEFAULT);

}

void HAL_TIM_PeriodElapsedCallback(TIM_HandleTypeDef *htim)
{
  if (htim->Instance == TIM4) {
    HAL_IncTick();
  }
}

void Error_Handler(void)
{
  __disable_irq();
  while (1)
  {
  }
}
